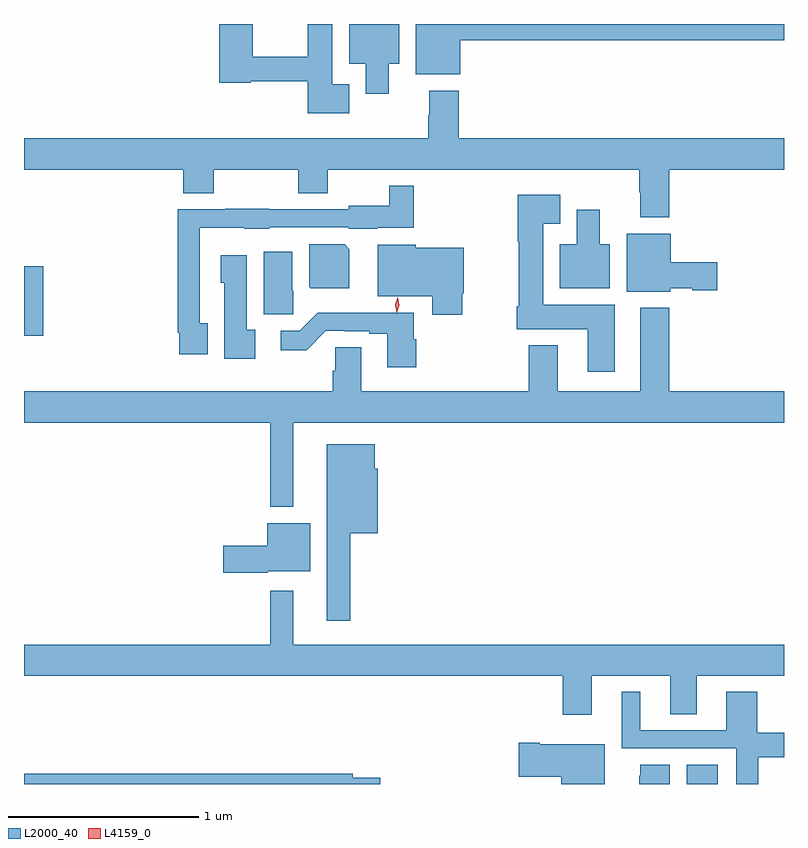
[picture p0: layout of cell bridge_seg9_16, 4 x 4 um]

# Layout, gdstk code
import gdstk
lib = gdstk.Library(unit=1e-6, precision=1e-09)
def R(c, l, rs):  # rectangles x0, y0, x1, y1
    for r in rs: c.add(gdstk.rectangle(r[:2], r[2:], *l))
def P(c, l, *ps):  # polygons
    for p in ps: c.add(gdstk.Polygon(p, *l))
L2000_40 = (2000, 40)
L4159_0 = (4159, 0)

bridge_seg9_16 = lib.new_cell('bridge_seg9_16')
R(bridge_seg9_16, L2000_40, [(936.356,1231.814,936.52,1231.916), (932.869,1234.173,932.969,1234.54)])
P(bridge_seg9_16, L2000_40, [(934.582,1235.497),(934.492,1235.497),(934.492,1235.814),(934.363,1235.814),(934.363,1235.642),(934.074,1235.642),(934.074,1235.814),(933.896,1235.814),(933.896,1235.506),(934.062,1235.506),(934.062,1235.514),(934.363,1235.514),(934.363,1235.345),(934.582,1235.345)],
  [(934.789,1235.606),(934.843,1235.606),(934.843,1235.814),(934.58,1235.814),(934.58,1235.606),(934.667,1235.606),(934.667,1235.448),(934.789,1235.448)],
  [(935.164,1235.728),(936.869,1235.728),(936.869,1235.814),(934.931,1235.814),(934.931,1235.549),(935.164,1235.549)],
  [(936.266,1235.048),(936.869,1235.048),(936.869,1235.212),(935.156,1235.212),(935.156,1235.464),(935.003,1235.464),(935.003,1235.333),(934.996,1235.333),(934.996,1235.212),(932.869,1235.212),(932.869,1235.048),(933.707,1235.048),(933.707,1234.924),(933.867,1234.924),(933.867,1235.048),(934.312,1235.048),(934.312,1234.924),(934.467,1234.924),(934.467,1235.048),(936.106,1235.048),(936.106,1234.928),(936.113,1234.928),(936.113,1234.796),(936.266,1234.796)],
  [(933.835,1234.238),(933.795,1234.238),(933.795,1234.742),(934.029,1234.742),(934.029,1234.736),(934.161,1234.736),(934.161,1234.743),(934.578,1234.743),(934.578,1234.736),(934.728,1234.736),(934.728,1234.742),(934.919,1234.742),(934.919,1234.963),(934.791,1234.963),(934.791,1234.858),(934.578,1234.858),(934.578,1234.839),(934.161,1234.839),(934.161,1234.841),(933.929,1234.841),(933.929,1234.839),(933.679,1234.839),(933.679,1234.189),(933.687,1234.189),(933.687,1234.077),(933.835,1234.077)],
  [(935.977,1234.336),(935.602,1234.336),(935.602,1234.763),(935.692,1234.763),(935.692,1234.915),(935.468,1234.915),(935.468,1234.667),(935.473,1234.667),(935.473,1234.329),(935.462,1234.329),(935.462,1234.208),(935.837,1234.208),(935.837,1233.984),(935.977,1233.984)],
  [(935.953,1234.654),(935.899,1234.654),(935.899,1234.837),(935.777,1234.837),(935.777,1234.654),(935.69,1234.654),(935.69,1234.424),(935.953,1234.424)],
  [(936.27,1234.424),(936.387,1234.424),(936.387,1234.412),(936.517,1234.412),(936.517,1234.559),(936.274,1234.559),(936.274,1234.711),(936.041,1234.711),(936.041,1234.406),(936.27,1234.406)],
  [(934.582,1234.628),(934.556,1234.654),(934.37,1234.654),(934.37,1234.432),(934.378,1234.424),(934.582,1234.424)],
  [(935.176,1234.396),(935.184,1234.396),(935.184,1234.636),(934.932,1234.636),(934.932,1234.652),(934.73,1234.652),(934.73,1234.382),(935.018,1234.382),(935.018,1234.284),(935.176,1234.284)],
  [(934.286,1234.41),(934.282,1234.41),(934.282,1234.615),(934.13,1234.615),(934.13,1234.287),(934.286,1234.287)],
  [(934.087,1234.206),(934.042,1234.206),(934.042,1234.597),(933.905,1234.597),(933.905,1234.452),(933.923,1234.452),(933.923,1234.052),(934.087,1234.052)],
  [(934.285,1233.716),(936.869,1233.716),(936.869,1233.88),(936.266,1233.88),(936.266,1234.321),(936.113,1234.321),(936.113,1233.88),(935.677,1233.88),(935.677,1234.123),(935.525,1234.123),(935.525,1233.88),(934.645,1233.88),(934.645,1234.112),(934.506,1234.112),(934.506,1233.99),(934.493,1233.99),(934.493,1233.88),(932.869,1233.88),(932.869,1233.716),(934.164,1233.716),(934.164,1233.272),(934.285,1233.272)],
  [(934.934,1234.155),(934.921,1234.155),(934.921,1234.295),(934.415,1234.295),(934.32,1234.2),(934.221,1234.2),(934.221,1234.098),(934.356,1234.098),(934.458,1234.2),(934.558,1234.2),(934.558,1234.197),(934.685,1234.197),(934.685,1234.185),(934.781,1234.185),(934.781,1234.008),(934.934,1234.008)],
  [(934.585,1233.134),(934.732,1233.134),(934.732,1233.474),(934.714,1233.474),(934.714,1233.601),(934.463,1233.601),(934.463,1232.673),(934.585,1232.673)],
  [(934.152,1232.933),(934.375,1232.933),(934.375,1233.187),(934.148,1233.187),(934.148,1233.068),(933.918,1233.068),(933.918,1232.926),(934.152,1232.926)],
  [(935.857,1232.384),(936.269,1232.384),(936.269,1232.182),(936.409,1232.182),(936.409,1232.384),(936.869,1232.384),(936.869,1232.548),(934.285,1232.548),(934.285,1232.83),(934.164,1232.83),(934.164,1232.548),(932.869,1232.548),(932.869,1232.384),(935.705,1232.384),(935.705,1232.178),(935.857,1232.178)],
  [(936.734,1231.954),(936.869,1231.954),(936.869,1232.083),(936.728,1232.083),(936.728,1232.299),(936.566,1232.299),(936.566,1232.097),(936.112,1232.097),(936.112,1232.299),(936.014,1232.299),(936.014,1232.001),(936.618,1232.001),(936.618,1231.814),(936.734,1231.814)],
  [(935.926,1232.023),(935.584,1232.023),(935.584,1232.031),(935.472,1232.031),(935.472,1231.853),(935.696,1231.853),(935.696,1231.814),(935.926,1231.814)],
  [(936.268,1231.916),(936.113,1231.916),(936.113,1231.857),(936.107,1231.857),(936.107,1231.814),(936.268,1231.814)],
  [(934.745,1231.848),(934.598,1231.848),(934.598,1231.868),(932.869,1231.868),(932.869,1231.814),(934.745,1231.814)])
P(bridge_seg9_16, L4159_0, [(934.832,1234.295),(934.832,1234.295),(934.824,1234.336),(934.836,1234.377),(934.837,1234.377),(934.837,1234.377),(934.844,1234.335),(934.832,1234.295)])

lib.write_gds('bridge_seg9_16.gds')
